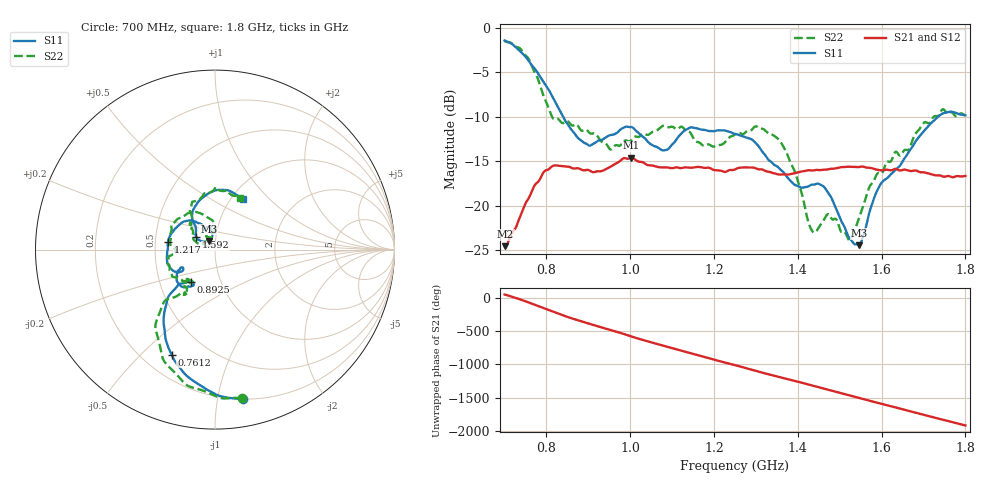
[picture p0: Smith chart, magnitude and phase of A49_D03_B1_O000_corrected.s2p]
! Created with skrf 1.9.0 (http://scikit-rf.org).
# Hz S RI R 50.0
!freq ReS11 ImS11 ReS21 ImS21 ReS12 ImS12 ReS22 ImS22
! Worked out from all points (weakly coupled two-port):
!   1601 points, 700 MHz to 1.8 GHz, reference 50 ohm
!   highest |S21| = -14.61 dB at 1.002 GHz (marker M1); lowest = -24.5 dB at 701.4 MHz (marker M2)
!   lowest |S11| = -24.4 dB at 1.546 GHz (marker M3), VSWR 1.13, Z = 46.4 + j4.53 ohm
!   |S11| at or under -10 dB: 839.5 MHz to 1.734 GHz (894.6 MHz wide, 69.5 % of centre)
!   |S22| runs from -23.9 to -1.5 dB; largest |S21 - S12| = 0.0036
!   S11 on the Smith chart (normalised r, x): 700 MHz: 0.20, -1.19; 761.2 MHz: 0.32, -0.62; 892.5 MHz: 0.72, -0.27; 1.217 GHz: 0.58, +0.05; 1.592 GHz: 0.80, +0.11; 1.8 GHz: 1.12, +0.71
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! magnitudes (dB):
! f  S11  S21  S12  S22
! 700 MHz  -1.4  -24.5  -24.3  -1.5
! 701.4 MHz  -1.5  -24.5  -24.2  -1.5
! 761.2 MHz  -4.0  -18.8  -18.7  -3.9
! 814.8 MHz  -7.8  -15.5  -15.6  -10.1
! 883.6 MHz  -12.7  -15.9  -15.8  -11.6
! 892.5 MHz  -13.0  -16.0  -16.0  -11.4
! 953 MHz  -12.0  -15.6  -15.6  -13.7
! 1.002 GHz  -11.1  -14.6  -14.7  -12.6
! 1.067 GHz  -13.5  -15.6  -15.6  -11.4
! 1.143 GHz  -11.2  -15.7  -15.7  -11.7
! 1.217 GHz  -11.5  -16.1  -16.1  -13.1
! 1.25 GHz  -11.9  -15.9  -15.8  -12.0
! 1.356 GHz  -15.8  -16.5  -16.4  -12.6
! 1.394 GHz  -17.7  -16.3  -16.3  -16.4
! 1.434 GHz  -17.6  -16.0  -16.0  -22.8
! 1.473 GHz  -18.6  -15.9  -15.9  -20.9
! 1.524 GHz  -23.7  -15.6  -15.6  -23.8
! 1.546 GHz  -24.4  -15.6  -15.6  -21.3
! 1.592 GHz  -18.1  -16.0  -16.0  -16.3
! 1.617 GHz  -16.7  -16.0  -15.9  -15.0
! 1.737 GHz  -9.9  -16.6  -16.6  -9.8
! 1.8 GHz  -9.8  -16.6  -16.6  -9.9
